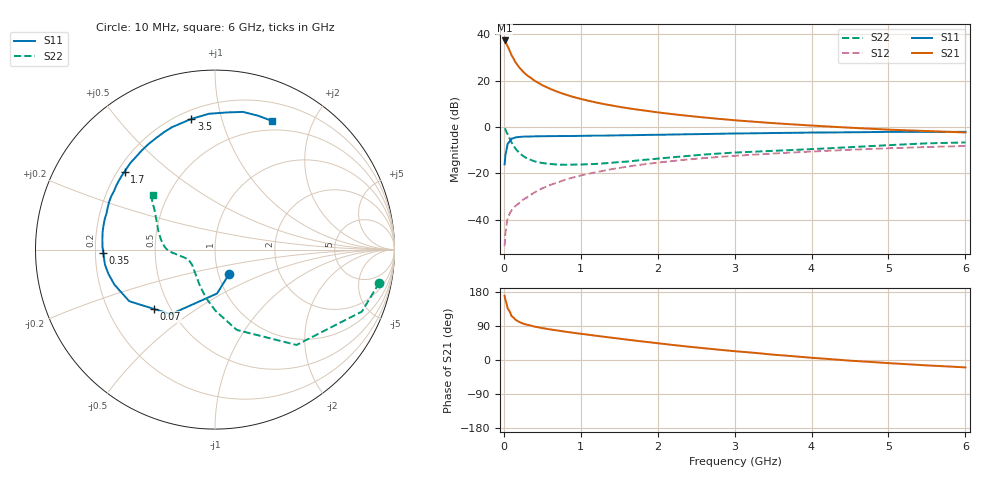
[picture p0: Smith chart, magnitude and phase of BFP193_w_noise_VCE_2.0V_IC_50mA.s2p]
! (c) 2017  Infineon Technologies AG, Munich
! Infineon Technologies  Discrete & RF Semiconductors
! BFP193
! VCE =  2.0 V,  IC =  50 mA
! Common Emitter S-Parameters:  Jan 2017
# GHz  S  MA  R  50
!  f  S11  S21  S12  S22
! GHz  MAG  ANG  MAG  ANG  MAG  ANG  MAG  ANG
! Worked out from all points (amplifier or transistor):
!   77 points, 10 MHz to 6 GHz, reference 50 ohm
!   highest |S21| = 37.3 dB at 10 MHz (marker M1)
!   |S21| within 3 dB of that: start of sweep to 56.23 MHz
!   unconditionally stable (mu >= 1): 489.3 MHz to 2.449 GHz
!   at 130 MHz: K = 0.65, MSG = 32.0 dB, |S12| = -34.8 dB
!   at 2.2 GHz: K = 1.01, MAG = 9.4 dB, |S12| = -14.7 dB
!   at 6 GHz: K = 0.94, MSG = 2.9 dB, |S12| = -8.2 dB
!   lowest NFmin = 1.52 dB at 450 MHz
!   S11 on the Smith chart (normalised r, x): 10 MHz: 1.13, -0.31; 70 MHz: 0.41, -0.35; 350 MHz: 0.23, -0.01; 1.7 GHz: 0.23, +0.35; 3.5 GHz: 0.25, +0.80; 6 GHz: 0.39, +1.46
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0.01  0.1561 -59.2  72.94 169.2  0.0027 82.4  0.9336 -11.4
0.02  0.2449 -87.3  70.3 159.3  0.005 79.0  0.8882 -22.9
0.05  0.436 -124.4  54.3 135.9  0.0108 60.7  0.699 -49.5
0.07  0.4737 -135.7  46.01 129.9  0.0129 59.3  0.5924 -57.2
0.1  0.5579 -149.0  35.06 116.0  0.016 57.9  0.4637 -74.8
0.15  0.5936 -160.8  24.93 106.4  0.0198 59.1  0.3419 -89.4
0.2  0.6088 -167.1  19.18 100.4  0.0229 61.3  0.277 -99.9
0.25  0.6188 -172.2  15.52 96.1  0.0271 64.2  0.2373 -107.7
0.3  0.6202 -175.6  13.01 93.1  0.0303 65.3  0.2106 -114.7
0.35  0.6228 -178.4  11.43 90.9  0.0346 66.5  0.1952 -119.4
0.4  0.6269 178.9  9.876 88.0  0.0389 67.4  0.1814 -124.9
0.5  0.6303 174.7  7.923 84.2  0.0475 68.1  0.1671 -133.0
0.6  0.634 170.9  6.64 80.8  0.056 68.4  0.1595 -139.6
0.8  0.6374 164.6  4.998 74.7  0.0733 68.3  0.1532 -148.4
1.1  0.6473 155.6  3.662 66.7  0.0979 65.8  0.1571 -157.3
1.7  0.6655 139.2  2.41 51.4  0.1473 58.5  0.1866 -167.7
2.1  0.6816 128.8  1.969 42.0  0.1775 53.1  0.215 -172.8
3.1  0.7247 107.5  1.353 21.6  0.244 39.8  0.2851 175.5
3.5  0.7398 100.3  1.208 14.1  0.2676 35.1  0.3055 169.8
4.1  0.7583 91.1  1.049 4.4  0.3005 27.7  0.3391 159.7
5.1  0.7822 77.2  0.862 -9.4  0.3509 16.0  0.4123 145.6
6  0.7839 66.2  0.76 -19.5  0.3896 6.0  0.4632 138.7
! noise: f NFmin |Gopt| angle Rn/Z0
0.45  1.52  0.43  -170  0.08
0.9  1.57  0.45  -164  0.09
1.9  2.2  0.61  -132  0.23
2.4  2.55  0.64  -119  0.48
